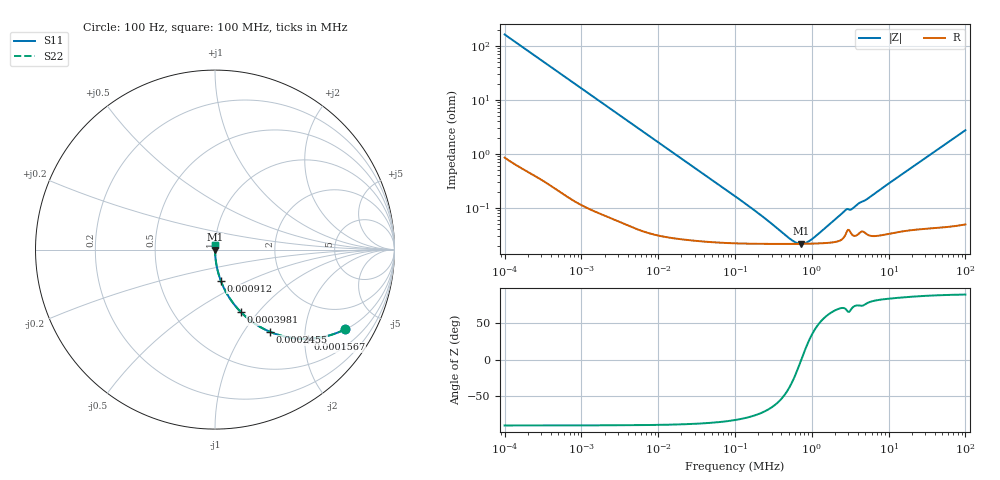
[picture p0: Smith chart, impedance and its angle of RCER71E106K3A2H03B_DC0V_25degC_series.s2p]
!Murata Part Number: RCER71E106K3A2H03B
!These Parameters are Measured in Series Mode Connection
!  o--ll--o
!Port1  Port2
!  o------o
!Operation Temp=25[degC], DC Bias Voltage=0[V]
!Freq. Start=100[Hz] Stop=100[MHz], 401[Steps]
!Data Generated on Feb 18, 2020
# Hz S RI R 50
!Freq.(Hz) S11(Real) S11(Imag) S21(Real) S21(Imag) S12(Real) S12(Imag) S22(Real) S22(Imag)
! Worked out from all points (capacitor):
!   401 points, 100 Hz to 100 MHz, reference 50 ohm
!   read as one part in series: C = 9.83 uF near 107.2 Hz
!   lowest |Z| = 21.6 mohm at 716.1 kHz (marker M1)
!   series resonance near 729.7 kHz, so ESL is about 4.8 nH
!   S11 on the Smith chart (normalised r, x): 100 Hz: 1.02, -3.24; 156.7 Hz: 1.01, -2.07; 245.5 Hz: 1.01, -1.32; 398.1 Hz: 1.01, -0.82; 912 Hz: 1.00, -0.36; 100 MHz: 1.00, +0.05
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100  0.7226 -0.4451  0.2774 0.4451  0.2774 0.4451  0.7226 -0.4451
156.6751  0.5167 -0.497  0.4833 0.497  0.4833 0.497  0.5167 -0.497
245.4709  0.3052 -0.4575  0.6948 0.4575  0.6948 0.4575  0.3052 -0.4575
398.1072  0.1445 -0.3485  0.8555 0.3485  0.8555 0.3485  0.1445 -0.3485
582.1032  0.074 -0.2586  0.926 0.2586  0.926 0.2586  0.074 -0.2586
912.0108  0.0321 -0.1728  0.9679 0.1728  0.9679 0.1728  0.0321 -0.1728
1011.579  0.0264 -0.1568  0.9736 0.1568  0.9736 0.1568  0.0264 -0.1568
2660.725  0.00437 -0.0612  0.9956 0.0612  0.9956 0.0612  0.00437 -0.0612
10232.93  0.000562 -0.0161  0.9994 0.0161  0.9994 0.0161  0.000562 -0.0161
100000  0.000223 -0.00163  0.9998 0.00163  0.9998 0.00163  0.000223 -0.00163
229086.8  0.000215 -0.000654  0.9998 0.000654  0.9998 0.000654  0.000215 -0.000654
524807.5  0.000215 -0.000153  0.9998 0.000153  0.9998 0.000153  0.000215 -0.000153
623734.8  0.000215 -7.18e-05  0.9998 7.18e-05  0.9998 7.18e-05  0.000215 -7.18e-05
716143.4  0.000215 -8.48e-06  0.9998 8.48e-06  0.9998 8.48e-06  0.000215 -8.48e-06
851138  0.000216 7.07e-05  0.9998 -7.07e-05  0.9998 -7.07e-05  0.000216 7.07e-05
1011579  0.000217 0.000152  0.9998 -0.000152  0.9998 -0.000152  0.000217 0.000152
2754229  0.000322 0.000852  0.9997 -0.000852  0.9997 -0.000852  0.000322 0.000852
3388442  0.000313 0.000915  0.9997 -0.000915  0.9997 -0.000915  0.000313 0.000915
4168694  0.000341 0.00118  0.9997 -0.00118  0.9997 -0.00118  0.000341 0.00118
5308844  0.000321 0.00143  0.9997 -0.00143  0.9997 -0.00143  0.000321 0.00143
1.023293e7  0.000339 0.00285  0.9997 -0.00285  0.9997 -0.00285  0.000339 0.00285
1e8  0.00124 0.0273  0.9988 -0.0273  0.9988 -0.0273  0.00124 0.0273
